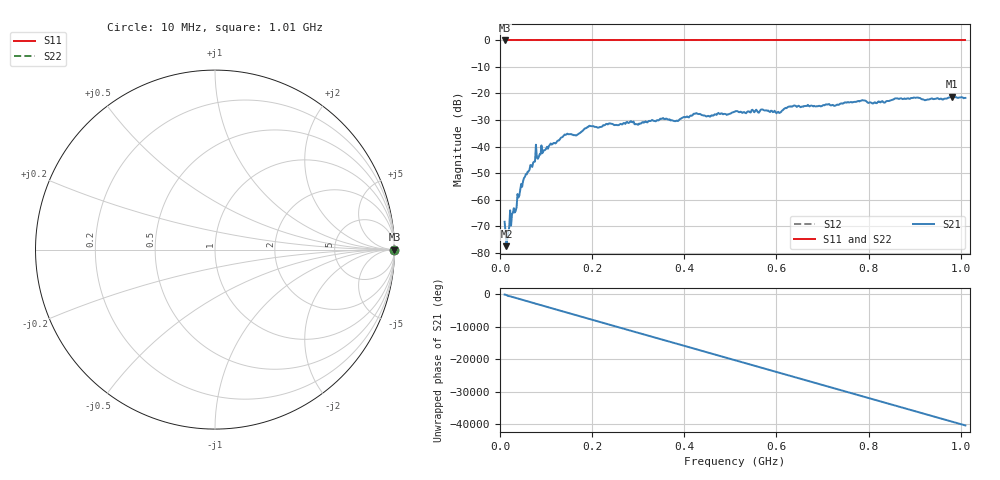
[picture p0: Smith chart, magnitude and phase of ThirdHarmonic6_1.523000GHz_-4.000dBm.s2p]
! 8/16/2025 5:59:08 PM
! C:\ANRITSUVNA\TEMP\TEMP.S2P
! CHANNEL.1
! TR.MEASUREMENT
! RAW.DATA
! RF.CORRECTION.OFF
! AVERAGING.OFF
! IF.BANDWIDTH: 5KHZ
! SWEEPTYPE:  FREQ.SWEEP(Linear)
! Reference Plane Port Info
! PORT:  PORT1  PORT2
! DISTANCE:  0  m  0  m
! TIME:  0  s  0  s
! PHASE.OFFSET:  0  deg.  0  deg.
! LOSS:  0  dB  0  dB
! REF.LOSS:  0  dB  0  dB
! REF.FREQ:  0  Hz  0  Hz
! Power Info
! POWER:  -20  dBm  -20  dBm
! EFF.POWER:  -20  dBm  -20  dBm
! SOURCE.ATTEN:  0  dB  0  dB
! TEST.ATTEN:  0  dB  0  dB
# GHZ S RI R 50.0
! FREQ.GHZ  S11RE  S11IM  S21RE  S21IM  S12RE  S12IM  S22RE  S22IM
!; PortSelection: Port_12
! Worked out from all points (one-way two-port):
!   501 points, 10 MHz to 1.01 GHz, reference 50 ohm
!   highest |S21| = -21.24 dB at 980 MHz (marker M1); lowest = -77.6 dB at 14 MHz (marker M2)
!   lowest |S11| = 0.0 dB at 10 MHz (marker M3)
!   |S11| at or under -10 dB: nowhere
!   |S22| runs from 0.0 to 0.0 dB; largest |S21 - S12| = 1.1
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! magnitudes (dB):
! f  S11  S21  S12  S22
! 10 MHz  0.0  -68.4  0.0  0.0
! 14 MHz  0.0  -77.6  0.0  0.0
! 16 MHz  0.0  -74.6  0.0  0.0
! 26 MHz  0.0  -65.5  0.0  0.0
! 32 MHz  0.0  -64.9  0.0  0.0
! 50 MHz  0.0  -53.1  0.0  0.0
! 76 MHz  0.0  -45.7  0.0  0.0
! 142 MHz  0.0  -35.6  0.0  0.0
! 164 MHz  0.0  -35.8  0.0  0.0
! 178 MHz  0.0  -34.3  0.0  0.0
! 196 MHz  0.0  -32.3  0.0  0.0
! 344 MHz  0.0  -30.2  0.0  0.0
! 382 MHz  0.0  -30.4  0.0  0.0
! 424 MHz  0.0  -27.6  0.0  0.0
! 452 MHz  0.0  -28.4  0.0  0.0
! 510 MHz  0.0  -26.8  0.0  0.0
! 604 MHz  0.0  -26.9  0.0  0.0
! 628 MHz  0.0  -24.9  0.0  0.0
! 678 MHz  0.0  -24.7  0.0  0.0
! 844 MHz  0.0  -22.8  0.0  0.0
! 980 MHz  0.0  -21.2  0.0  0.0
! 1.01 GHz  0.0  -21.7  0.0  0.0
